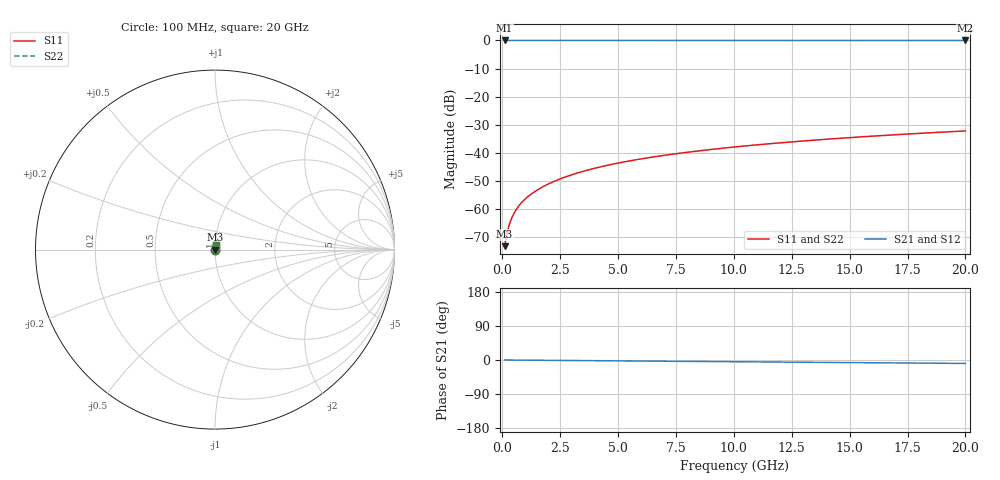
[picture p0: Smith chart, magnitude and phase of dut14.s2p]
! Touchstone file exported from HFSS 2026.1.0
!  File:  C:/ffzhzh/LocalFiles/Ansys_Project_Files/temp_val_TSV_14_1782975009_15332.aedt
!  Generated:  02:51:49 PM Jul  2, 2026
!  Design:  TSV
!  Project:  temp_val_TSV_14_1782975009_15332
! Variables:
!  h_bsmrdl = 2um
!  h_ox = 20um
!  h_rdl = 5um
!  h_sub = 89.59um
!  h_tmrdl = 5um
!  h_tsv = 89.59um
!  h_via = 3um
!  l_bsmrdl = 300um
!  l_sub = 420.14um
!  l_tmrdl = 200um
!  m_sub = 200um
!  pitch = 48.77um
!  r_tsv = 10.07um
!  s_tmrdl = 10um
!  w_bsmrdl = 18um
!  w_sub = 500um
!  w_tmrdl = 12um
!  x_tsv_center1 = 206um
!  x_tsv_center2 = 524um
!  x_tsv_center3 = 736um
!  x_tsv_center4 = 1054um
!  x_tsv_center5 = 1266um
!  x_tsv_center6 = 1584um
# GHz S MA R 50.000000
! Terminal data exported
! Port[1] = TSV1_1_T1
! Port[2] = TSV1_1_T2
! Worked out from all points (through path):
!   200 points, 100 MHz to 20 GHz, reference 50 ohm
!   highest |S21| = 0.00 dB at 100 MHz (marker M1); lowest = 0.0 dB at 20 GHz (marker M2)
!   group delay of S21, straight-line fit = 1.26 ps
!   lowest |S11| = -73.3 dB at 100 MHz (marker M3), VSWR 1.00, Z = 50 + j0.0168 ohm
!   |S11| at or under -10 dB: start of sweep to end of sweep
!   |S22| runs from -73.3 to -32.2 dB; largest |S21 - S12| = 3.4e-15
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0.1  0.000216 51.0  0.9999 -0.0  0.9999 -0.0  0.000216 51.0
! Gamma 0 0 0 0
! Port Impedance 50 0 50 0
0.2  0.0003647 66.0  0.9999 -0.1  0.9999 -0.1  0.0003647 66.0
0.3  0.0005212 71.3  0.9998 -0.1  0.9998 -0.1  0.0005212 71.3
0.4  0.0006756 73.6  0.9998 -0.2  0.9998 -0.2  0.0006756 73.6
0.5  0.0008255 74.8  0.9998 -0.2  0.9998 -0.2  0.0008255 74.8
0.6  0.0009704 75.5  0.9998 -0.3  0.9998 -0.3  0.0009704 75.5
0.7  0.001111 76.0  0.9997 -0.3  0.9997 -0.3  0.001111 76.0
0.8  0.001248 76.4  0.9997 -0.4  0.9997 -0.4  0.001248 76.4
1  0.001513 77.2  0.9997 -0.5  0.9997 -0.5  0.001513 77.2
1.4  0.002027 78.4  0.9996 -0.7  0.9996 -0.7  0.002027 78.4
1.7  0.002406 79.2  0.9996 -0.8  0.9996 -0.8  0.002406 79.2
2  0.002785 79.8  0.9995 -0.9  0.9995 -0.9  0.002785 79.8
2.7  0.003668 80.8  0.9995 -1.2  0.9995 -1.2  0.003668 80.8
3.5  0.004673 81.3  0.9994 -1.6  0.9994 -1.6  0.004673 81.3
4.2  0.005546 81.6  0.9994 -1.9  0.9994 -1.9  0.005546 81.6
5  0.006537 81.7  0.9993 -2.3  0.9993 -2.3  0.006537 81.7
6.8  0.008741 81.6  0.9992 -3.1  0.9992 -3.1  0.008741 81.6
8.3  0.01056 81.4  0.9991 -3.8  0.9991 -3.8  0.01056 81.4
10.1  0.01273 81.0  0.9989 -4.6  0.9989 -4.6  0.01273 81.0
13.4  0.01667 80.0  0.9987 -6.1  0.9987 -6.1  0.01667 80.0
16.7  0.02057 78.9  0.9985 -7.6  0.9985 -7.6  0.02057 78.9
20  0.02442 77.7  0.9983 -9.1  0.9983 -9.1  0.02442 77.7
